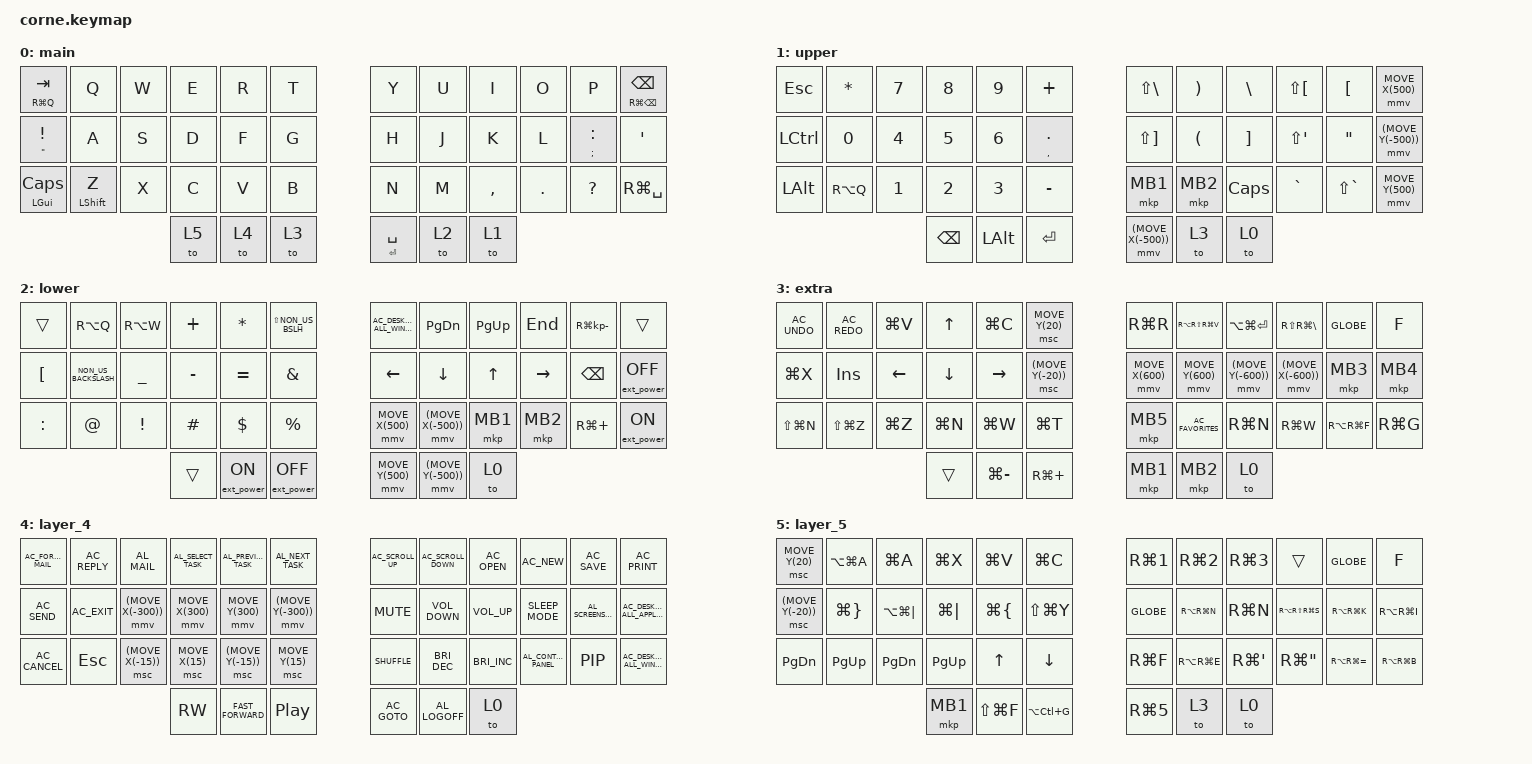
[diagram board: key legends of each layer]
/*
 * Copyright (c) 2020 The ZMK Contributors
 *
 * SPDX-License-Identifier: MIT
 */

#include <behaviors.dtsi>
#include <dt-bindings/zmk/ext_power.h>
#include <dt-bindings/zmk/keys.h>
#include <dt-bindings/zmk/pointing.h>

 
 

#include "mouse.dtsi"

/ {
 
    };



    keymap {
        compatible = "zmk,keymap";

        main {
            // -----------------------------------------------------------------------------------------
            // |  TAB |  Q  |  W  |  E  |  R  |  T  |   |  Y  |  U   |  I  |  O  |  P  | BSPC |
            // | CTRL |  A  |  S  |  D  |  F  |  G  |   |  H  |  J   |  K  |  L  |  ;  |  '   |
            // | SHFT |  Z  |  X  |  C  |  V  |  B  |   |  N  |  M   |  ,  |  .  |  /  | ESC  |
            //                    | GUI | LWR | SPC |   | ENT | RSE  | ALT |

            bindings = <
&mt RG(Q) TAB                  &kp Q             &kp W  &kp E  &kp R  &kp T    &kp Y            &kp U  &kp I      &kp O    &kp P           &mt RG(BACKSPACE) BACKSPACE
&mt DOUBLE_QUOTES EXCLAMATION  &kp A             &kp S  &kp D  &kp F  &kp G    &kp H            &kp J  &kp K      &kp L    &mt SEMI COLON  &kp SINGLE_QUOTE
&mt LGUI CAPS                  &mt LEFT_SHIFT Z  &kp X  &kp C  &kp V  &kp B    &kp N            &kp M  &kp COMMA  &kp DOT  &kp QUESTION    &kp RG(SPACE)
                                                        &to 5  &to 4  &to 3    &mt ENTER SPACE  &to 2  &to 1
            >;
        };

        upper {
            bindings = <
&kp ESC           &kp ASTERISK  &kp NUMBER_7  &kp NUMBER_8   &kp NUMBER_9  &kp PLUS            &kp LS(BACKSLASH)      &kp RIGHT_PARENTHESIS  &kp BACKSLASH      &kp LS(LEFT_BRACKET)  &kp LEFT_BRACKET   &mmv MOVE_X(500)
&kp LEFT_CONTROL  &kp NUMBER_0  &kp NUMBER_4  &kp NUMBER_5   &kp NUMBER_6  &mt COMMA PERIOD    &kp LS(RIGHT_BRACKET)  &kp LEFT_PARENTHESIS   &kp RIGHT_BRACKET  &kp LS(APOSTROPHE)    &kp DOUBLE_QUOTES  &mmv (MOVE_Y(-500))
&kp LEFT_ALT      &kp RA(Q)     &kp NUMBER_1  &kp NUMBER_2   &kp NUMBER_3  &kp MINUS           &mkp MB1               &mkp MB2               &kp CAPSLOCK       &kp GRAVE             &kp LS(GRAVE)      &mmv MOVE_Y(500)
                                              &kp BACKSPACE  &kp LEFT_ALT  &kp ENTER           &mmv (MOVE_X(-500))    &to 3                  &to 0
            >;
        };

        lower {
            bindings = <
&trans            &kp RA(Q)             &kp RA(W)        &kp PLUS   &kp ASTERISK      &kp LS(NON_US_BSLH)    &kp C_AC_DESKTOP_SHOW_ALL_WINDOWS  &kp PAGE_DOWN        &kp PAGE_UP   &kp END          &kp RG(KP_MINUS)  &trans
&kp LEFT_BRACKET  &kp NON_US_BACKSLASH  &kp UNDERSCORE   &kp MINUS  &kp EQUAL         &kp AMPERSAND          &kp LEFT_ARROW                     &kp DOWN_ARROW       &kp UP_ARROW  &kp RIGHT_ARROW  &kp BACKSPACE     &ext_power EP_OFF
&kp COLON         &kp AT_SIGN           &kp EXCLAMATION  &kp HASH   &kp DOLLAR        &kp PERCENT            &mmv MOVE_X(500)                   &mmv (MOVE_X(-500))  &mkp MB1      &mkp MB2         &kp RG(PLUS)      &ext_power EP_ON
                                                         &trans     &ext_power EP_ON  &ext_power EP_OFF      &mmv MOVE_Y(500)                   &mmv (MOVE_Y(-500))  &to 0
            >;
        };

        extra {
            bindings = <
&kp C_AC_UNDO  &kp C_AC_REDO  &kp LG(V)       &kp UP_ARROW  &kp LG(C)      &msc MOVE_Y(20)       &kp RG(R)         &kp RA(RS(RG(V)))   &kp LA(LG(RETURN))   &kp RS(RG(BSLH))     &kp GLOBE      &kp F
&kp LG(X)      &kp INSERT     &kp LEFT_ARROW  &kp DOWN      &kp RIGHT      &msc (MOVE_Y(-20))    &mmv MOVE_X(600)  &mmv MOVE_Y(600)    &mmv (MOVE_Y(-600))  &mmv (MOVE_X(-600))  &mkp MB3       &mkp MB4
&kp LS(LG(N))  &kp LS(LG(Z))  &kp LG(Z)       &kp LG(N)     &kp LG(W)      &kp LG(T)             &mkp MB5          &kp C_AC_FAVORITES  &kp RG(N)            &kp RG(W)            &kp RA(RG(F))  &kp RG(G)
                                              &trans        &kp LG(MINUS)  &kp RG(PLUS)          &mkp MB1          &mkp MB2            &to 0
            >;
        };

        layer_4 {
            bindings = <
&kp C_AC_FORWARD_MAIL  &kp C_AC_REPLY  &kp C_AL_MAIL        &kp C_AL_SELECT_TASK  &kp C_AL_PREVIOUS_TASK  &kp C_AL_NEXT_TASK     &kp C_AC_SCROLL_UP  &kp C_AC_SCROLL_DOWN  &kp C_AC_OPEN         &kp C_AC_NEW            &kp C_AC_SAVE         &kp C_AC_PRINT
&kp C_AC_SEND          &kp C_AC_EXIT   &mmv (MOVE_X(-300))  &mmv MOVE_X(300)      &mmv MOVE_Y(300)        &mmv (MOVE_Y(-300))    &kp C_MUTE          &kp C_VOLUME_DOWN     &kp C_VOLUME_UP       &kp C_SLEEP_MODE        &kp C_AL_SCREENSAVER  &kp C_AC_DESKTOP_SHOW_ALL_APPLICATIONS
&kp C_AC_CANCEL        &kp ESC         &msc (MOVE_X(-15))   &msc MOVE_X(15)       &msc (MOVE_Y(-15))      &msc MOVE_Y(15)        &kp C_SHUFFLE       &kp C_BRIGHTNESS_DEC  &kp C_BRIGHTNESS_INC  &kp C_AL_CONTROL_PANEL  &kp C_PIP             &kp C_AC_DESKTOP_SHOW_ALL_WINDOWS
                                                            &kp C_RW              &kp C_FAST_FORWARD      &kp C_PLAY_PAUSE       &kp C_AC_GOTO       &kp C_AL_LOGOFF       &to 0
            >;
        };

        layer_5 {
            bindings = <
&msc MOVE_Y(20)     &kp LA(LG(A))        &kp LG(A)         &kp LG(X)     &kp LG(V)      &kp LG(C)         &kp RG(NUMBER_1)  &kp RG(NUMBER_2)  &kp RG(NUMBER_3)      &trans                 &kp GLOBE          &kp F
&msc (MOVE_Y(-20))  &kp LG(RIGHT_BRACE)  &kp LA(LG(PIPE))  &kp LG(PIPE)  &kp LG(LBRC)   &kp LS(LG(Y))     &kp GLOBE         &kp RA(RG(N))     &kp RG(N)             &kp RA(RS(RG(S)))      &kp RA(RG(K))      &kp RA(RG(I))
&kp PG_DN           &kp PG_UP            &kp PAGE_DOWN     &kp PAGE_UP   &kp UP_ARROW   &kp DOWN_ARROW    &kp RG(F)         &kp RA(RG(E))     &kp RG(SINGLE_QUOTE)  &kp RG(DOUBLE_QUOTES)  &kp RA(RG(EQUAL))  &kp RA(RG(B))
                                                           &mkp MB1      &kp LS(LG(F))  &kp LA(LC(G))     &kp RG(N5)        &to 3             &to 0
            >;
        };
    };
};
